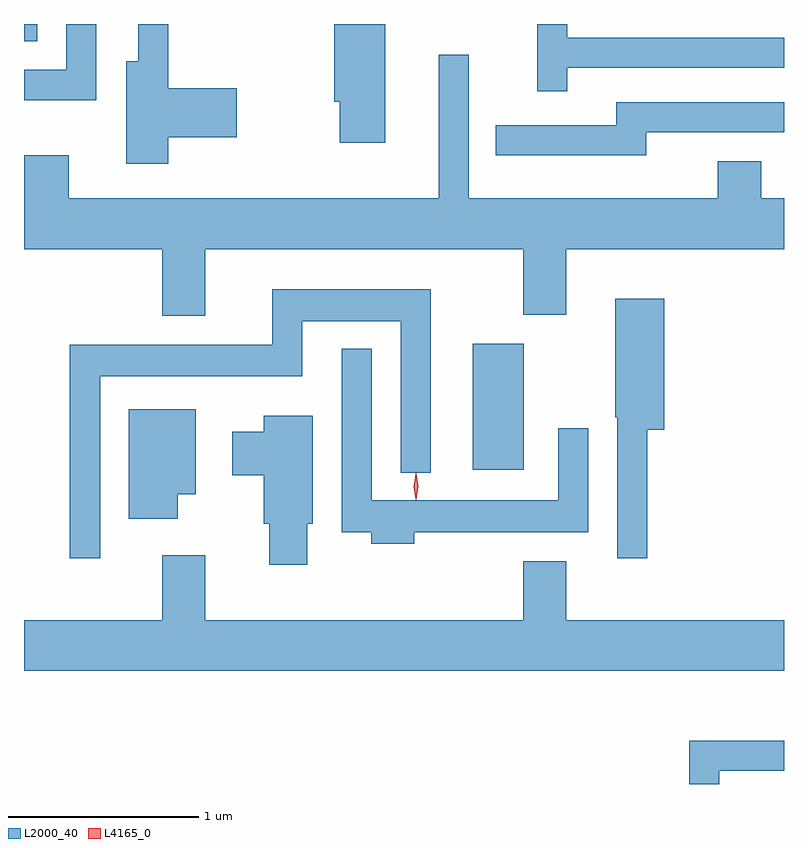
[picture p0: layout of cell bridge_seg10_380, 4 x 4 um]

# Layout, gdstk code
import gdstk
lib = gdstk.Library(unit=1e-6, precision=1e-09)
def R(c, l, rs):  # rectangles x0, y0, x1, y1
    for r in rs: c.add(gdstk.rectangle(r[:2], r[2:], *l))
def P(c, l, *ps):  # polygons
    for p in ps: c.add(gdstk.Polygon(p, *l))
L2000_40 = (2000, 40)
L4165_0 = (4165, 0)

bridge_seg10_380 = lib.new_cell('bridge_seg10_380')
R(bridge_seg10_380, L2000_40, [(1423.306,2143.836,1423.574,2144.499), (1420.944,2146.091,1421.014,2146.181)])
P(bridge_seg10_380, L2000_40, [(1421.704,2145.586),(1422.064,2145.586),(1422.064,2145.844),(1421.704,2145.844),(1421.704,2146.181),(1421.546,2146.181),(1421.546,2145.984),(1421.481,2145.984),(1421.481,2145.446),(1421.704,2145.446)],
  [(1421.324,2146.181),(1421.166,2146.181),(1421.166,2145.939),(1420.944,2145.939),(1420.944,2145.781),(1421.324,2145.781)],
  [(1423.804,2145.951),(1424.944,2145.951),(1424.944,2146.109),(1423.804,2146.109),(1423.804,2146.181),(1423.646,2146.181),(1423.646,2145.828),(1423.804,2145.828)],
  [(1422.844,2146.181),(1422.576,2146.181),(1422.576,2145.771),(1422.606,2145.771),(1422.606,2145.556),(1422.844,2145.556)],
  [(1421.899,2144.996),(1423.571,2144.996),(1423.571,2144.651),(1423.799,2144.651),(1423.799,2144.996),(1424.944,2144.996),(1424.944,2145.264),(1424.824,2145.264),(1424.824,2145.459),(1424.596,2145.459),(1424.596,2145.264),(1423.284,2145.264),(1423.284,2146.018),(1423.126,2146.018),(1423.126,2145.264),(1421.179,2145.264),(1421.179,2145.489),(1420.944,2145.489),(1420.944,2144.996),(1421.671,2144.996),(1421.671,2144.646),(1421.899,2144.646)],
  [(1424.219,2145.611),(1424.944,2145.611),(1424.944,2145.769),(1424.061,2145.769),(1424.061,2145.649),(1423.428,2145.649),(1423.428,2145.491),(1424.219,2145.491)],
  [(1421.344,2144.326),(1422.409,2144.326),(1422.409,2144.616),(1422.926,2144.616),(1422.926,2143.818),(1423.084,2143.818),(1423.084,2144.784),(1422.251,2144.784),(1422.251,2144.494),(1421.186,2144.494),(1421.186,2143.368),(1421.344,2143.368)],
  [(1424.224,2144.046),(1424.314,2144.046),(1424.314,2144.734),(1424.056,2144.734),(1424.056,2144.11),(1424.066,2144.11),(1424.066,2143.368),(1424.224,2143.368)],
  [(1422.999,2143.506),(1423.914,2143.506),(1423.914,2144.053),(1423.756,2144.053),(1423.756,2143.674),(1422.774,2143.674),(1422.774,2144.473),(1422.616,2144.473),(1422.616,2143.506),(1422.771,2143.506),(1422.771,2143.446),(1422.999,2143.446)],
  [(1421.754,2143.706),(1421.849,2143.706),(1421.849,2144.154),(1421.496,2144.154),(1421.496,2143.576),(1421.754,2143.576)],
  [(1422.434,2143.551),(1422.464,2143.551),(1422.464,2144.119),(1422.206,2144.119),(1422.206,2144.034),(1422.041,2144.034),(1422.041,2143.806),(1422.206,2143.806),(1422.206,2143.551),(1422.236,2143.551),(1422.236,2143.336),(1422.434,2143.336)],
  [(1424.944,2143.044),(1423.799,2143.044),(1423.799,2143.354),(1423.571,2143.354),(1423.571,2143.044),(1421.899,2143.044),(1421.899,2143.384),(1421.671,2143.384),(1421.671,2143.044),(1420.944,2143.044),(1420.944,2142.776),(1424.944,2142.776)],
  [(1424.604,2142.251),(1424.944,2142.251),(1424.944,2142.409),(1424.446,2142.409),(1424.446,2142.181),(1424.604,2142.181)])
P(bridge_seg10_380, L4165_0, [(1423.005,2143.68),(1423.005,2143.68),(1422.995,2143.746),(1423.005,2143.812),(1423.005,2143.813),(1423.006,2143.812),(1423.015,2143.746),(1423.006,2143.68)],
  [(1423.008,2143.677),(1423.007,2143.678),(1422.998,2143.747),(1423.007,2143.816),(1423.008,2143.816),(1423.008,2143.816),(1423.018,2143.747),(1423.008,2143.678)])

lib.write_gds('bridge_seg10_380.gds')
